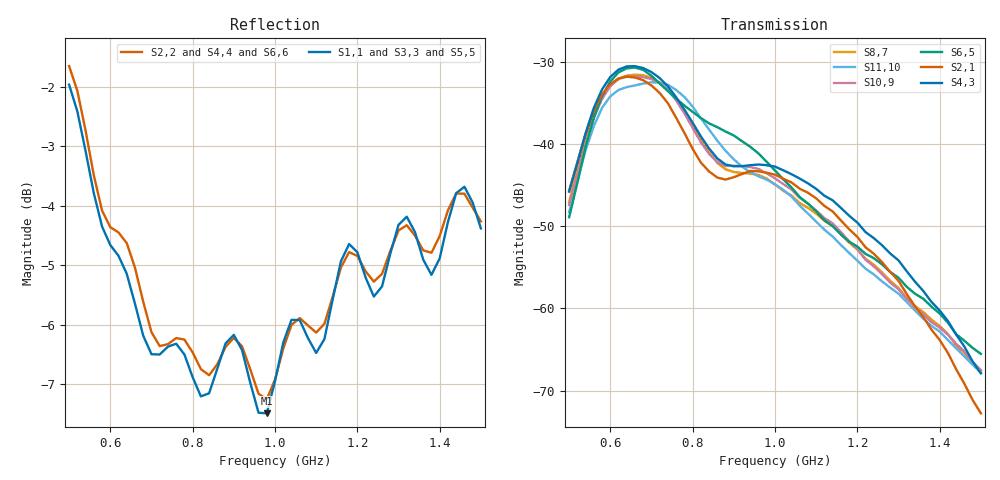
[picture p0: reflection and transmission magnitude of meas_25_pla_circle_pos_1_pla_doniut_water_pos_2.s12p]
! Converted from meas_25_pla_circle_pos_1_pla_doniut_water_pos_2.mat
! MATLAB 5.0 MAT-file, Platform: PCWIN64, Created on: Sat Nov 21 15:41:19 2026
! Ports 1-12 = antennas 1-12; IFBW=1000 Hz, power=0 dBm, doCalibration flag=1
! SW_A serial 12410080206: antennas 1 3 5 7 9 11
! SW_B serial 12410080235: antennas 2 4 6 8 10 12
! WARNING: Sij (i!=j) between two odd or two even ports was NOT MEASURED (NaN in source).
! Those entries are written as 0 0 placeholders. Do not treat them as data.
! Reference impedance 50 ohm is assumed (not stored in source).
# Hz S RI R 50
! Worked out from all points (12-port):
!   51 points, 500 MHz to 1.5 GHz, reference 50 ohm
!   strongest paths, dB at 500 MHz, 740 MHz, 1 GHz, 1.26 GHz, 1.5 GHz:
!     S4,3: -45.8, -33.0, -42.8, -52.3, -67.9
!     S2,1: -45.7, -35.1, -43.8, -54.4, -72.8
!     S6,5: -48.9, -33.6, -43.2, -54.7, -65.5
!     S10,9: -47.4, -33.4, -44.2, -55.9, -67.5
!     S11,10: -48.3, -32.8, -44.9, -56.7, -67.8
!     S8,7: -47.1, -33.4, -45.0, -55.6, -67.6
!   lowest |S11| = -7.5 dB at 980 MHz (marker M1), VSWR 2.46, Z = 26.9 - j25.2 ohm
!   |S11| at or under -10 dB: nowhere
